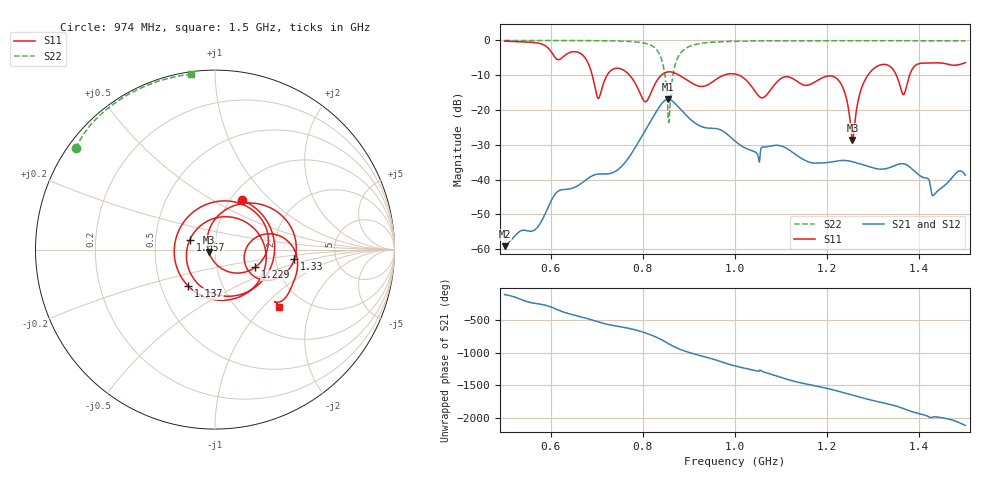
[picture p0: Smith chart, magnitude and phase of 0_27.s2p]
! TOUCHSTONE file generated by CST MICROWAVE STUDIO
! Date and time: Sat Oct 24 10:46:32 2020
! Project name: Scenario_1_Planar_Body_Tissue_Center.cst
! Parameters = {hfat=3; hmuscle=50; hskin=1.5; hgap=25; Wtissue=700; Ltissue=700; L_HA=400; MT=2.54; Rad_Dielectric=30; Rad_Lower=7.3; Rad_Upper=30; a_HA=580; a_WG=246; b_HA=500; b_WG=121; c_HA=0; c_WG=187; d_feed=85; dx1=623.32; h_feed=15; h_lower=18; h_upper=40}
! Header version: 2018
! Port assignment regex: !\s*Touchstone port\s*([0-9]+)\s*=\s*(CST MWS port|CST DS port)\s*([0-9]+|Zmin|Zmax)\s*\(\"(.*)\"\)(\s*mode\s*([0-9]+))?.*
! Touchstone port assignment:
! Touchstone port 1 = CST MWS port 1 ("")
! Touchstone port 2 = CST MWS port 2 ("")
# GHz S DB R 50
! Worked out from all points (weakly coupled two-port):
!   1003 points, 500 MHz to 1.5 GHz, reference 50 ohm
!   highest |S21| = -16.92 dB at 855 MHz (marker M1); lowest = -59.1 dB at 500 MHz (marker M2)
!   lowest |S11| = -28.6 dB at 1.255 GHz (marker M3), VSWR 1.08, Z = 46.6 - j1.19 ohm
!   |S11| at or under -10 dB: 771.3 MHz to 840 MHz (68.73 MHz wide, 8.53 % of centre); 879 MHz to 975.4 MHz (96.37 MHz wide, 10.4 % of centre); 1.009 GHz to 1.288 GHz (279.7 MHz wide, 24.4 % of centre) (the widest 3 of 5)
!   |S22| runs from -23.6 to 0.0 dB; largest |S21 - S12| = 0.00044
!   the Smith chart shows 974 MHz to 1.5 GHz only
!   S11 on the Smith chart (normalised r, x): 974 MHz: 1.13, +0.69; 1.057 GHz: 0.75, +0.08; 1.137 GHz: 0.69, -0.30; 1.229 GHz: 1.54, -0.32; 1.33 GHz: 2.56, -0.34; 1.5 GHz: 1.49, -1.24
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0.5  -0.20 -122.5  -59.11 -109.4  -59.11 -109.4  -0.01 151.1
0.579  -0.97 -166.2  -52.19 100.3  -52.18 100.3  -0.02 145.7
0.667  -3.93 127.8  -41.03 -93.8  -41.03 -93.8  -0.04 138.3
0.692  -10.99 49.2  -38.78 -146.1  -38.78 -146.1  -0.06 135.7
0.713  -13.01 -114.7  -38.37 169.6  -38.37 169.6  -0.08 133.2
0.762  -8.87 114.6  -34.97 102.0  -34.97 102.0  -0.23 124.9
0.834  -10.90 167.2  -19.44 -60.0  -19.44 -60.0  -3.45 81.5
0.855  -9.02 96.8  -16.92 -141.4  -16.92 -141.4  -21.81 -9.3
0.891  -10.98 -12.0  -21.11 102.3  -21.11 102.3  -2.45 173.5
0.939  -12.87 -178.7  -25.14 6.4  -25.14 6.4  -0.64 151.2
0.974  -10.07 61.3  -26.06 -71.4  -26.06 -71.4  -0.36 143.9
1  -9.65 -9.7  -28.91 -126.0  -28.92 -126.0  -0.26 140.1
1.057  -16.44 158.8  -30.84 158.6  -30.80 158.6  -0.15 133.5
1.102  -10.77 -10.0  -30.38 52.9  -30.38 52.9  -0.12 129.4
1.137  -11.98 -126.6  -33.28 -17.1  -33.28 -17.1  -0.10 126.5
1.167  -12.42 124.4  -35.17 -61.4  -35.17 -61.4  -0.10 124.1
1.229  -12.24 -23.7  -34.51 -164.0  -34.51 -164.0  -0.08 119.4
1.255  -28.62 -159.9  -34.86 143.6  -34.86 143.6  -0.08 117.4
1.282  -11.40 66.0  -35.87 92.9  -35.87 92.9  -0.08 115.3
1.33  -7.02 -6.8  -36.77 14.7  -36.77 14.7  -0.09 111.8
1.334  -7.26 -12.5  -36.62 7.9  -36.62 7.9  -0.09 111.4
1.5  -6.40 -42.0  -38.75 39.5  -38.75 39.5  -0.13 97.8
